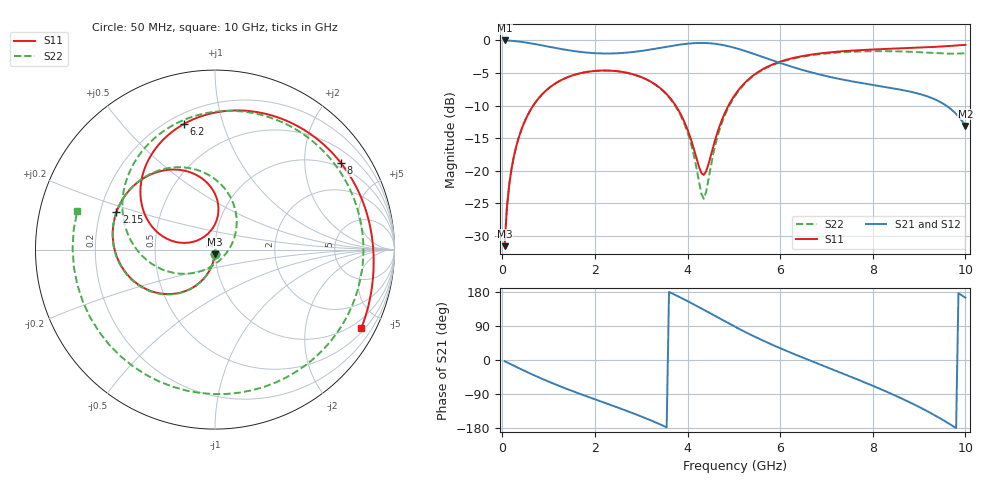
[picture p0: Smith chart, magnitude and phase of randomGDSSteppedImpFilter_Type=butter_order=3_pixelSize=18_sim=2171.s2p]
! freq	dB(S11)	phase(S11)	dB(S12)	phase(S12)
!  dB(S21)	phase(S21)	dB(S22)	phase(S22)
!S-par simulation data
#  GHz  S  DB  R 50
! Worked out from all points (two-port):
!   200 points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, 50 MHz to 10 GHz, reference 50 ohm
!   highest |S21| = -0.01 dB at 50 MHz (marker M1); lowest = -13.1 dB at 10 GHz (marker M2)
!   |S21| within 3 dB of the highest: start of sweep to 5.813 GHz
!   lowest |S11| = -31.5 dB at 50 MHz (marker M3), VSWR 1.05, Z = 49.8 - j2.63 ohm
!   |S11| at or under -10 dB: start of sweep to 668.4 MHz; 3.743 GHz to 4.884 GHz (1.142 GHz wide, 26.5 % of centre)
!   |S22| runs from -31.5 to -1.6 dB; largest |S21 - S12| = 0
!   S11 on the Smith chart (normalised r, x): 50 MHz: 1.00, -0.05; 2.15 GHz: 0.27, +0.17; 6.2 GHz: 0.26, +0.75; 8 GHz: 0.86, +3.01; 10 GHz: 0.64, -3.87
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0.05  -31.55 -93.2  -0.01 -3.1  -0.01 -3.1  -31.55 -93.2
0.2  -19.67 -102.6  -0.06 -12.2  -0.06 -12.2  -19.67 -102.5
0.5  -12.17 -120.5  -0.31 -29.8  -0.31 -29.8  -12.17 -120.2
1.05  -7.07 -150.3  -1.03 -59.5  -1.03 -59.5  -7.07 -149.8
1.75  -4.93 176.7  -1.82 -92.6  -1.82 -92.6  -4.93 177.2
2.15  -4.62 159.3  -2.00 -110.2  -2.00 -110.2  -4.62 159.4
2.85  -5.25 129.1  -1.76 -141.7  -1.76 -141.7  -5.26 127.2
3.4  -7.26 104.7  -1.16 -169.4  -1.16 -169.4  -7.31 97.6
3.95  -12.80 85.2  -0.54 158.6  -0.54 158.6  -13.13 57.3
4.35  -20.61 128.9  -0.39 132.5  -0.39 132.5  -24.28 -45.3
4.7  -12.99 169.0  -0.63 109.0  -0.63 109.0  -13.51 -140.3
5.05  -8.08 158.0  -1.20 86.0  -1.20 86.0  -8.26 -171.5
5.6  -4.52 131.6  -2.48 52.9  -2.48 52.9  -4.61 151.0
6.2  -2.84 103.9  -3.92 20.8  -3.92 20.8  -2.93 115.7
6.7  -2.15 82.9  -4.95 -4.0  -4.95 -4.0  -2.25 87.8
7.35  -1.66 57.7  -6.01 -35.6  -6.01 -35.6  -1.82 50.6
8  -1.39 34.4  -6.83 -68.0  -6.83 -68.0  -1.66 9.5
8.35  -1.29 22.6  -7.24 -86.4  -7.24 -86.4  -1.66 -15.3
8.8  -1.17 8.1  -7.84 -111.8  -7.84 -111.8  -1.74 -51.8
9.25  -1.03 -5.7  -8.77 -139.9  -8.77 -139.9  -1.90 -95.9
9.6  -0.88 -16.2  -10.07 -164.6  -10.07 -164.6  -2.02 -137.9
10  -0.68 -28.3  -13.11 164.5  -13.11 164.5  -1.97 164.3
